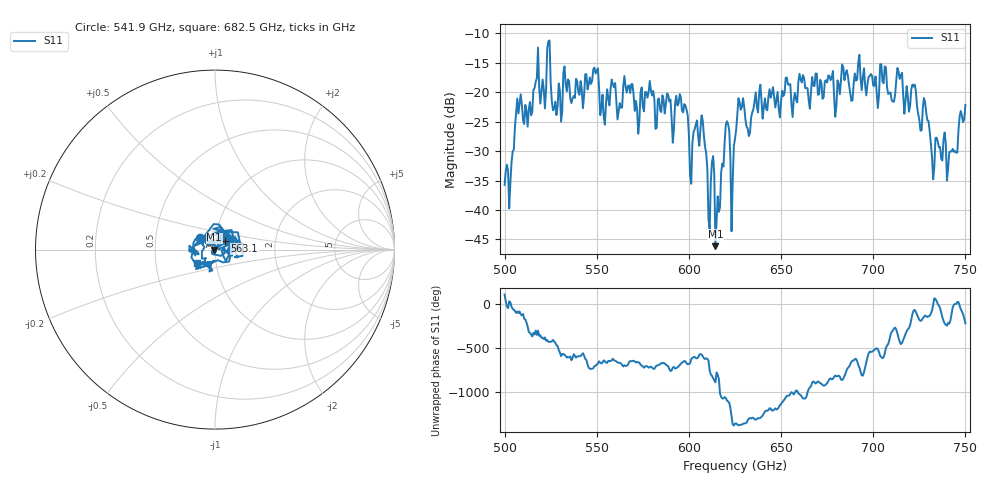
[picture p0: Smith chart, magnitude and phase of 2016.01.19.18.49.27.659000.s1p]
!Created with skrf (http://scikit-rf.org).
# GHz S RI R 50.0
!freq ReS11 ImS11
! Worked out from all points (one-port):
!   401 points, 500 GHz to 750 GHz, reference 50 ohm
!   lowest |S11| = -46.1 dB at 614.4 GHz (marker M1), VSWR 1.01, Z = 49.5 - j0.0508 ohm
!   |S11| at or under -10 dB: start of sweep to end of sweep
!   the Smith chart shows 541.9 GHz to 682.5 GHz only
!   S11 on the Smith chart (normalised r, x): 541.9 GHz: 0.84, +0.11; 563.1 GHz: 1.11, +0.11; 682.5 GHz: 0.81, -0.13
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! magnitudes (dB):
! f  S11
! 500 GHz  -35.7
! 503.8 GHz  -31.9
! 507.5 GHz  -23.6
! 513.8 GHz  -21.7
! 516.9 GHz  -18.2
! 531.2 GHz  -23.3
! 541.9 GHz  -19.6
! 549.4 GHz  -16.8
! 553.1 GHz  -20.4
! 558.8 GHz  -18.7
! 562.5 GHz  -21.9
! 563.1 GHz  -22.7
! 593.8 GHz  -22.3
! 601.2 GHz  -35.6
! 607.5 GHz  -24.8
! 610.6 GHz  -41.7
! 614.4 GHz  -46.1
! 615.6 GHz  -37.7
! 620.6 GHz  -24.9
! 623.1 GHz  -43.6
! 625 GHz  -27.9
! 628.1 GHz  -23.0
! 656.2 GHz  -24.2
! 682.5 GHz  -18.0
! 687.5 GHz  -20.2
! 718.8 GHz  -20.6
! 741.2 GHz  -30.2
! 750 GHz  -22.2
